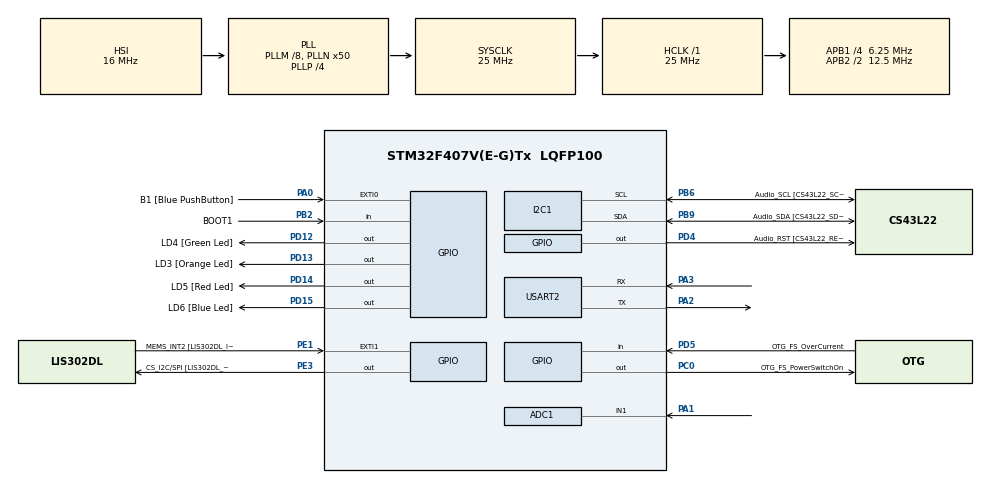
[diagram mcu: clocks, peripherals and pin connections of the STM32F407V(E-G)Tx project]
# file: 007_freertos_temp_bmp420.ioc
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ADC1.Channel-1\#ChannelRegularConversion=ADC_CHANNEL_1
ADC1.NbrOfConversionFlag=1
ADC1.Rank-1\#ChannelRegularConversion=1
ADC1.SamplingTime-1\#ChannelRegularConversion=ADC_SAMPLETIME_3CYCLES
ADC1.master=1
Mcu.Family=STM32F4
Mcu.Name=STM32F407V(E-G)Tx
Mcu.Package=LQFP100
NVIC.PriorityGroup=NVIC_PRIORITYGROUP_4
NVIC.TIM6_DAC_IRQn=true\:0\:0\:false\:false\:true\:false\:true\:true
NVIC.TimeBase=TIM6_DAC_IRQn
NVIC.TimeBaseIP=TIM6
NVIC.USART2_IRQn=true\:0\:0\:false\:false\:true\:true\:true\:true
PA0-WKUP.GPIO_Label=B1 [Blue PushButton]
PA0-WKUP.Signal=GPXTI0
PA1.Signal=ADCx_IN1
PA10.GPIO_Label=OTG_FS_ID
PA10.GPIO_Mode=GPIO_MODE_AF_PP
PA10.GPIO_PuPd=GPIO_NOPULL
PA10.GPIO_Speed=GPIO_SPEED_FREQ_LOW
PA10.Signal=USB_OTG_FS_ID
PA11.GPIO_Label=OTG_FS_DM
PA11.GPIO_Mode=GPIO_MODE_AF_PP
PA11.GPIO_PuPd=GPIO_NOPULL
PA11.GPIO_Speed=GPIO_SPEED_FREQ_LOW
PA11.Signal=USB_OTG_FS_DM
PA12.GPIO_Label=OTG_FS_DP
PA12.GPIO_Mode=GPIO_MODE_AF_PP
PA12.GPIO_PuPd=GPIO_NOPULL
PA12.GPIO_Speed=GPIO_SPEED_FREQ_LOW
PA12.Signal=USB_OTG_FS_DP
PA13.GPIO_Label=SWDIO
PA13.Signal=SYS_JTMS-SWDIO
PA14.GPIO_Label=SWCLK
PA14.Signal=SYS_JTCK-SWCLK
PA2.Mode=Asynchronous
PA2.Signal=USART2_TX
PA3.Mode=Asynchronous
PA3.Signal=USART2_RX
PA4.GPIO_Label=I2S3_WS [CS43L22_LRCK]
PA4.GPIO_Mode=GPIO_MODE_AF_PP
PA4.GPIO_PuPd=GPIO_NOPULL
PA4.GPIO_Speed=GPIO_SPEED_FREQ_LOW
PA4.Signal=I2S3_WS
PA5.GPIO_Label=SPI1_SCK [LIS302DL_SCL/SPC]
PA5.GPIO_Mode=GPIO_MODE_AF_PP
PA5.GPIO_PuPd=GPIO_NOPULL
PA5.GPIO_Speed=GPIO_SPEED_FREQ_LOW
PA5.Signal=SPI1_SCK
PA6.GPIO_Label=SPI1_MISO [LIS302DL_SDO]
PA6.GPIO_Mode=GPIO_MODE_AF_PP
PA6.GPIO_PuPd=GPIO_NOPULL
PA6.GPIO_Speed=GPIO_SPEED_FREQ_LOW
PA6.Signal=SPI1_MISO
PA7.GPIO_Label=SPI1_MOSI [LIS302DL_SDA/SDI/SDO]
PA7.GPIO_Mode=GPIO_MODE_AF_PP
PA7.GPIO_PuPd=GPIO_NOPULL
PA7.GPIO_Speed=GPIO_SPEED_FREQ_LOW
PA7.Signal=SPI1_MOSI
PA9.GPIO_Label=VBUS_FS
PA9.GPIO_Mode=GPIO_MODE_INPUT
PA9.GPIO_PuPd=GPIO_NOPULL
PA9.Signal=USB_OTG_FS_VBUS
PB10.GPIO_Label=CLK_IN [MP45DT02_CLK]
PB10.GPIO_Mode=GPIO_MODE_AF_PP
PB10.GPIO_PuPd=GPIO_NOPULL
PB10.GPIO_Speed=GPIO_SPEED_FREQ_LOW
PB10.Signal=I2S2_CK
PB2.GPIO_Label=BOOT1
PB2.GPIO_Mode=GPIO_MODE_INPUT
PB2.GPIO_PuPd=GPIO_NOPULL
PB2.Signal=GPIO_Input
PB3.GPIO_Label=SWO
PB3.Signal=SYS_JTDO-SWO
PB6.GPIO_Label=Audio_SCL [CS43L22_SCL]
PB6.GPIO_Mode=GPIO_MODE_AF_OD
PB6.GPIO_Pu=GPIO_PULLUP
PB6.GPIO_PuPd=GPIO_NOPULL
PB6.GPIO_Speed=GPIO_SPEED_FREQ_LOW
PB6.Mode=I2C
PB6.Signal=I2C1_SCL
PB9.GPIO_Label=Audio_SDA [CS43L22_SDA]
PB9.GPIO_Mode=GPIO_MODE_AF_OD
PB9.GPIO_Pu=GPIO_PULLUP
PB9.GPIO_PuPd=GPIO_NOPULL
PB9.GPIO_Speed=GPIO_SPEED_FREQ_LOW
PB9.Mode=I2C
PB9.Signal=I2C1_SDA
PC0.GPIO_Label=OTG_FS_PowerSwitchOn
PC0.GPIO_PuPd=GPIO_NOPULL
PC0.GPIO_Speed=GPIO_SPEED_FREQ_LOW
PC0.PinState=GPIO_PIN_SET
PC0.Signal=GPIO_Output
PC10.GPIO_Label=I2S3_SCK [CS43L22_SCLK]
PC10.GPIO_Mode=GPIO_MODE_AF_PP
PC10.GPIO_PuPd=GPIO_NOPULL
PC10.GPIO_Speed=GPIO_SPEED_FREQ_LOW
PC10.Signal=I2S3_CK
PC12.GPIO_Label=I2S3_SD [CS43L22_SDIN]
PC12.GPIO_Mode=GPIO_MODE_AF_PP
PC12.GPIO_PuPd=GPIO_NOPULL
PC12.GPIO_Speed=GPIO_SPEED_FREQ_LOW
PC12.Signal=I2S3_SD
PC14-OSC32_IN.GPIO_Label=PC14-OSC32_IN
PC14-OSC32_IN.Signal=RCC_OSC32_IN
PC15-OSC32_OUT.GPIO_Label=PC15-OSC32_OUT
PC15-OSC32_OUT.Signal=RCC_OSC32_OUT
PC3.GPIO_Label=PDM_OUT [MP45DT02_DOUT]
PC3.GPIO_Mode=GPIO_MODE_AF_PP
PC3.GPIO_PuPd=GPIO_NOPULL
PC3.GPIO_Speed=GPIO_SPEED_FREQ_LOW
PC3.Signal=I2S2_SD
PC7.GPIO_Label=I2S3_MCK [CS43L22_MCLK]
PC7.GPIO_Mode=GPIO_MODE_AF_PP
PC7.GPIO_PuPd=GPIO_NOPULL
PC7.GPIO_Speed=GPIO_SPEED_FREQ_LOW
PC7.Signal=I2S3_MCK
PD12.GPIO_Label=LD4 [Green Led]
PD12.GPIO_PuPd=GPIO_NOPULL
PD12.GPIO_Speed=GPIO_SPEED_FREQ_LOW
PD12.Signal=GPIO_Output
PD13.GPIO_Label=LD3 [Orange Led]
PD13.GPIO_PuPd=GPIO_NOPULL
PD13.GPIO_Speed=GPIO_SPEED_FREQ_LOW
PD13.Signal=GPIO_Output
PD14.GPIO_Label=LD5 [Red Led]
PD14.GPIO_PuPd=GPIO_NOPULL
PD14.GPIO_Speed=GPIO_SPEED_FREQ_LOW
PD14.Signal=GPIO_Output
PD15.GPIO_Label=LD6 [Blue Led]
PD15.GPIO_PuPd=GPIO_NOPULL
PD15.GPIO_Speed=GPIO_SPEED_FREQ_LOW
PD15.Signal=GPIO_Output
PD4.GPIO_Label=Audio_RST [CS43L22_RESET]
PD4.GPIO_PuPd=GPIO_NOPULL
PD4.GPIO_Speed=GPIO_SPEED_FREQ_LOW
PD4.Signal=GPIO_Output
PD5.GPIO_Label=OTG_FS_OverCurrent
PD5.GPIO_Mode=GPIO_MODE_INPUT
PD5.GPIO_PuPd=GPIO_NOPULL
PD5.Signal=GPIO_Input
PE1.GPIO_Label=MEMS_INT2 [LIS302DL_INT2]
PE1.GPIO_ModeDefaultEXTI=GPIO_MODE_EVT_RISING
PE1.GPIO_PuPd=GPIO_NOPULL
PE1.Signal=GPXTI1
PE3.GPIO_Label=CS_I2C/SPI [LIS302DL_CS_I2C/SPI]
PE3.GPIO_PuPd=GPIO_NOPULL
PE3.GPIO_Speed=GPIO_SPEED_FREQ_LOW
PE3.Signal=GPIO_Output
PH0-OSC_IN.GPIO_Label=PH0-OSC_IN
PH0-OSC_IN.Signal=RCC_OSC_IN
PH1-OSC_OUT.GPIO_Label=PH1-OSC_OUT
PH1-OSC_OUT.Signal=RCC_OSC_OUT
ProjectManager.HeapSize=0x200
ProjectManager.StackSize=0x400
ProjectManager.TargetToolchain=STM32CubeIDE
RCC.48MHZClocksFreq_Value=14285714.285714285
RCC.AHBFreq_Value=25000000
RCC.APB1CLKDivider=RCC_HCLK_DIV4
RCC.APB1Freq_Value=6250000
RCC.APB1TimFreq_Value=12500000
RCC.APB2CLKDivider=RCC_HCLK_DIV2
RCC.APB2Freq_Value=12500000
RCC.APB2TimFreq_Value=25000000
RCC.CortexFreq_Value=25000000
RCC.HCLKFreq_Value=25000000
RCC.HSE_VALUE=8000000
RCC.HSI_VALUE=16000000
RCC.LSE_VALUE=32768
RCC.PLLM=8
RCC.PLLN=50
RCC.PLLP=RCC_PLLP_DIV4
RCC.PLLQ=7
RCC.SYSCLKFreq_VALUE=25000000
RCC.SYSCLKSource=RCC_SYSCLKSOURCE_PLLCLK
RCC.VCOOutputFreq_Value=100000000
SH.ADCx_IN1.0=ADC1_IN1,IN1
USART2.VirtualMode=VM_ASYNC
VP_SYS_VS_tim6.Mode=TIM6
board=STM32F407G-DISC1

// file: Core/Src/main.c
/* USER CODE BEGIN Header */
/**
  ******************************************************************************
  * @file           : main.c
  * @brief          : Main program body
  ******************************************************************************
  * @attention
  *
  * Copyright (c) 2026 STMicroelectronics.
  * All rights reserved.
  *
  * This software is licensed under terms that can be found in the LICENSE file
  * in the root directory of this software component.
  * If no LICENSE file comes with this software, it is provided AS-IS.
  *
  ******************************************************************************
  */
/* USER CODE END Header */
#include "main.h"

/* USER CODE BEGIN Includes */
#include<string.h>
#include<stdlib.h>
#include<stdio.h>
/* USER CODE END Includes */

ADC_HandleTypeDef hadc1;

I2C_HandleTypeDef hi2c1;

UART_HandleTypeDef huart2;

/* USER CODE BEGIN PV */
uint16_t dig_T1;
int16_t  dig_T2;
int16_t  dig_T3;
int32_t  t_fine;
/* USER CODE END PV */

void SystemClock_Config(void);
static void MX_GPIO_Init(void);
static void MX_USART2_UART_Init(void);
static void MX_ADC1_Init(void);
static void MX_I2C1_Init(void);

/* USER CODE BEGIN 0 */
#define BMP280_ADDR         (0x76 << 1)

#define BMP280_REG_TEMP_MSB 0xFA
#define BMP280_REG_CTRL_MEAS 0xF4
#define BMP280_REG_CALIB 0x88
#define BMP280_REG_TEMP_MSB 0xFA
uint8_t i2c_buf[6];

void BMP280_ReadCalibration(void)
{
    uint8_t calib[6];

    HAL_I2C_Mem_Read(&hi2c1,
                     BMP280_ADDR,
                     BMP280_REG_CALIB,
                     I2C_MEMADD_SIZE_8BIT,
                     calib,
                     6,
                     HAL_MAX_DELAY);

    dig_T1 = (uint16_t)(calib[1] << 8 | calib[0]);
    dig_T2 = (int16_t)(calib[3] << 8 | calib[2]);
    dig_T3 = (int16_t)(calib[5] << 8 | calib[4]);
}
void BMP280_Init(void)
{
    uint8_t ctrl = 0x27; // temp x1, press x1, normal mode

    HAL_I2C_Mem_Write(&hi2c1,
                      BMP280_ADDR,
                      BMP280_REG_CTRL_MEAS,
                      I2C_MEMADD_SIZE_8BIT,
                      &ctrl,
                      1,
                      HAL_MAX_DELAY);
}

int32_t BMP280_ReadRawTemp(void)
{
    uint8_t data[3];

    HAL_I2C_Mem_Read(&hi2c1,
                     BMP280_ADDR,
                     BMP280_REG_TEMP_MSB,
                     I2C_MEMADD_SIZE_8BIT,
                     data,
                     3,
                     HAL_MAX_DELAY);

    return (int32_t)((data[0] << 12) |
                     (data[1] << 4)  |
                     (data[2] >> 4));
}

float BMP280_ReadTemperature(void)
{
    int32_t adc_T = BMP280_ReadRawTemp();

    int32_t var1 = ((((adc_T >> 3) - ((int32_t)dig_T1 << 1))) *
                    ((int32_t)dig_T2)) >> 11;

    int32_t var2 = (((((adc_T >> 4) - ((int32_t)dig_T1)) *
                      ((adc_T >> 4) - ((int32_t)dig_T1))) >> 12) *
                    ((int32_t)dig_T3)) >> 14;

    t_fine = var1 + var2;

    float T = (t_fine * 5 + 128) >> 8;

    return T / 100.0f;
}
/* USER CODE END 0 */

int main(void)
{

  /* MCU Configuration--------------------------------------------------------*/

  /* Reset of all peripherals, Initializes the Flash interface and the Systick. */
  HAL_Init();

  /* Configure the system clock */
  SystemClock_Config();

  /* Initialize all configured peripherals */
  MX_GPIO_Init();
  MX_USART2_UART_Init();
  MX_ADC1_Init();
  MX_I2C1_Init();
  /* USER CODE BEGIN 2 */
  char buffer[50];

  HAL_UART_Transmit(&huart2,
                    (uint8_t*)"--- Scan started ---\r\n",
                    21,
                    HAL_MAX_DELAY);

  for (uint8_t addr = 1; addr < 128; addr++)
  {
      if (HAL_I2C_IsDeviceReady(&hi2c1,
                                addr << 1,
                                1,
                                10) == HAL_OK)
      {
          sprintf(buffer,
                  "I2C device found at address 0x%02X\r\n",
                  addr);

          HAL_UART_Transmit(&huart2,
                            (uint8_t*)buffer,
                            strlen(buffer),
                            HAL_MAX_DELAY);
      }
  }

  HAL_UART_Transmit(&huart2,
                    (uint8_t*)"--- Scan finished ---\r\n",
                    22,
                    HAL_MAX_DELAY);
  BMP280_Init();
  BMP280_ReadCalibration();

  /* USER CODE END 2 */

  /* Infinite loop */
  while (1)
  {
	  char buffer[50];

	  float temperature = BMP280_ReadTemperature();

	  int temp_x100 = (int)(temperature * 100);

	  sprintf(buffer, "Temp = %d.%02d C\r\n",
	          temp_x100 / 100,
	          temp_x100 % 100);

	  HAL_UART_Transmit(&huart2,
	                    (uint8_t*)buffer,
	                    strlen(buffer),
	                    HAL_MAX_DELAY);

	  HAL_Delay(1000);
  }
}

void SystemClock_Config(void)
{
  RCC_OscInitTypeDef RCC_OscInitStruct = {0};
  RCC_ClkInitTypeDef RCC_ClkInitStruct = {0};

  /** Configure the main internal regulator output voltage
  */
  __HAL_RCC_PWR_CLK_ENABLE();
  __HAL_PWR_VOLTAGESCALING_CONFIG(PWR_REGULATOR_VOLTAGE_SCALE1);

  /** Initializes the RCC Oscillators according to the specified parameters
  * in the RCC_OscInitTypeDef structure.
  */
  RCC_OscInitStruct.OscillatorType = RCC_OSCILLATORTYPE_HSI;
  RCC_OscInitStruct.HSIState = RCC_HSI_ON;
  RCC_OscInitStruct.HSICalibrationValue = RCC_HSICALIBRATION_DEFAULT;
  RCC_OscInitStruct.PLL.PLLState = RCC_PLL_ON;
  RCC_OscInitStruct.PLL.PLLSource = RCC_PLLSOURCE_HSI;
  RCC_OscInitStruct.PLL.PLLM = 8;
  RCC_OscInitStruct.PLL.PLLN = 50;
  RCC_OscInitStruct.PLL.PLLP = RCC_PLLP_DIV4;
  RCC_OscInitStruct.PLL.PLLQ = 7;
  if (HAL_RCC_OscConfig(&RCC_OscInitStruct) != HAL_OK)
  {
    Error_Handler();
  }

  /** Initializes the CPU, AHB and APB buses clocks
  */
  RCC_ClkInitStruct.ClockType = RCC_CLOCKTYPE_HCLK|RCC_CLOCKTYPE_SYSCLK
                              |RCC_CLOCKTYPE_PCLK1|RCC_CLOCKTYPE_PCLK2;
  RCC_ClkInitStruct.SYSCLKSource = RCC_SYSCLKSOURCE_PLLCLK;
  RCC_ClkInitStruct.AHBCLKDivider = RCC_SYSCLK_DIV1;
  RCC_ClkInitStruct.APB1CLKDivider = RCC_HCLK_DIV4;
  RCC_ClkInitStruct.APB2CLKDivider = RCC_HCLK_DIV2;

  if (HAL_RCC_ClockConfig(&RCC_ClkInitStruct, FLASH_LATENCY_0) != HAL_OK)
  {
    Error_Handler();
  }
}

static void MX_ADC1_Init(void)
{

  ADC_ChannelConfTypeDef sConfig = {0};

  /** Configure the global features of the ADC (Clock, Resolution, Data Alignment and number of conversion)
  */
  hadc1.Instance = ADC1;
  hadc1.Init.ClockPrescaler = ADC_CLOCK_SYNC_PCLK_DIV2;
  hadc1.Init.Resolution = ADC_RESOLUTION_12B;
  hadc1.Init.ScanConvMode = DISABLE;
  hadc1.Init.ContinuousConvMode = DISABLE;
  hadc1.Init.DiscontinuousConvMode = DISABLE;
  hadc1.Init.ExternalTrigConvEdge = ADC_EXTERNALTRIGCONVEDGE_NONE;
  hadc1.Init.ExternalTrigConv = ADC_SOFTWARE_START;
  hadc1.Init.DataAlign = ADC_DATAALIGN_RIGHT;
  hadc1.Init.NbrOfConversion = 1;
  hadc1.Init.DMAContinuousRequests = DISABLE;
  hadc1.Init.EOCSelection = ADC_EOC_SINGLE_CONV;
  if (HAL_ADC_Init(&hadc1) != HAL_OK)
  {
    Error_Handler();
  }

  /** Configure for the selected ADC regular channel its corresponding rank in the sequencer and its sample time.
  */
  sConfig.Channel = ADC_CHANNEL_1;
  sConfig.Rank = 1;
  sConfig.SamplingTime = ADC_SAMPLETIME_3CYCLES;
  if (HAL_ADC_ConfigChannel(&hadc1, &sConfig) != HAL_OK)
  {
    Error_Handler();
  }

}

static void MX_I2C1_Init(void)
{

  hi2c1.Instance = I2C1;
  hi2c1.Init.ClockSpeed = 100000;
  hi2c1.Init.DutyCycle = I2C_DUTYCYCLE_2;
  hi2c1.Init.OwnAddress1 = 0;
  hi2c1.Init.AddressingMode = I2C_ADDRESSINGMODE_7BIT;
  hi2c1.Init.DualAddressMode = I2C_DUALADDRESS_DISABLE;
  hi2c1.Init.OwnAddress2 = 0;
  hi2c1.Init.GeneralCallMode = I2C_GENERALCALL_DISABLE;
  hi2c1.Init.NoStretchMode = I2C_NOSTRETCH_DISABLE;
  if (HAL_I2C_Init(&hi2c1) != HAL_OK)
  {
    Error_Handler();
  }

}

static void MX_USART2_UART_Init(void)
{

  huart2.Instance = USART2;
  huart2.Init.BaudRate = 115200;
  huart2.Init.WordLength = UART_WORDLENGTH_8B;
  huart2.Init.StopBits = UART_STOPBITS_1;
  huart2.Init.Parity = UART_PARITY_NONE;
  huart2.Init.Mode = UART_MODE_TX_RX;
  huart2.Init.HwFlowCtl = UART_HWCONTROL_NONE;
  huart2.Init.OverSampling = UART_OVERSAMPLING_16;
  if (HAL_UART_Init(&huart2) != HAL_OK)
  {
    Error_Handler();
  }

}

static void MX_GPIO_Init(void)
{
  GPIO_InitTypeDef GPIO_InitStruct = {0};

  /* GPIO Ports Clock Enable */
  __HAL_RCC_GPIOE_CLK_ENABLE();
  __HAL_RCC_GPIOC_CLK_ENABLE();
  __HAL_RCC_GPIOH_CLK_ENABLE();
  __HAL_RCC_GPIOA_CLK_ENABLE();
  __HAL_RCC_GPIOB_CLK_ENABLE();
  __HAL_RCC_GPIOD_CLK_ENABLE();

  /*Configure GPIO pin Output Level */
  HAL_GPIO_WritePin(CS_I2C_SPI_GPIO_Port, CS_I2C_SPI_Pin, GPIO_PIN_RESET);

  /*Configure GPIO pin Output Level */
  HAL_GPIO_WritePin(OTG_FS_PowerSwitchOn_GPIO_Port, OTG_FS_PowerSwitchOn_Pin, GPIO_PIN_SET);

  /*Configure GPIO pin Output Level */
  HAL_GPIO_WritePin(GPIOD, LD4_Pin|LD3_Pin|LD5_Pin|LD6_Pin
                          |Audio_RST_Pin, GPIO_PIN_RESET);

  /*Configure GPIO pin : CS_I2C_SPI_Pin */
  GPIO_InitStruct.Pin = CS_I2C_SPI_Pin;
  GPIO_InitStruct.Mode = GPIO_MODE_OUTPUT_PP;
  GPIO_InitStruct.Pull = GPIO_NOPULL;
  GPIO_InitStruct.Speed = GPIO_SPEED_FREQ_LOW;
  HAL_GPIO_Init(CS_I2C_SPI_GPIO_Port, &GPIO_InitStruct);

  /*Configure GPIO pin : OTG_FS_PowerSwitchOn_Pin */
  GPIO_InitStruct.Pin = OTG_FS_PowerSwitchOn_Pin;
  GPIO_InitStruct.Mode = GPIO_MODE_OUTPUT_PP;
  GPIO_InitStruct.Pull = GPIO_NOPULL;
  GPIO_InitStruct.Speed = GPIO_SPEED_FREQ_LOW;
  HAL_GPIO_Init(OTG_FS_PowerSwitchOn_GPIO_Port, &GPIO_InitStruct);

  /*Configure GPIO pin : PDM_OUT_Pin */
  GPIO_InitStruct.Pin = PDM_OUT_Pin;
  GPIO_InitStruct.Mode = GPIO_MODE_AF_PP;
  GPIO_InitStruct.Pull = GPIO_NOPULL;
  GPIO_InitStruct.Speed = GPIO_SPEED_FREQ_LOW;
  GPIO_InitStruct.Alternate = GPIO_AF5_SPI2;
  HAL_GPIO_Init(PDM_OUT_GPIO_Port, &GPIO_InitStruct);

  /*Configure GPIO pin : B1_Pin */
  GPIO_InitStruct.Pin = B1_Pin;
  GPIO_InitStruct.Mode = GPIO_MODE_IT_RISING;
  GPIO_InitStruct.Pull = GPIO_NOPULL;
  HAL_GPIO_Init(B1_GPIO_Port, &GPIO_InitStruct);

  /*Configure GPIO pin : I2S3_WS_Pin */
  GPIO_InitStruct.Pin = I2S3_WS_Pin;
  GPIO_InitStruct.Mode = GPIO_MODE_AF_PP;
  GPIO_InitStruct.Pull = GPIO_NOPULL;
  GPIO_InitStruct.Speed = GPIO_SPEED_FREQ_LOW;
  GPIO_InitStruct.Alternate = GPIO_AF6_SPI3;
  HAL_GPIO_Init(I2S3_WS_GPIO_Port, &GPIO_InitStruct);

  /*Configure GPIO pins : SPI1_SCK_Pin SPI1_MISO_Pin SPI1_MOSI_Pin */
  GPIO_InitStruct.Pin = SPI1_SCK_Pin|SPI1_MISO_Pin|SPI1_MOSI_Pin;
  GPIO_InitStruct.Mode = GPIO_MODE_AF_PP;
  GPIO_InitStruct.Pull = GPIO_NOPULL;
  GPIO_InitStruct.Speed = GPIO_SPEED_FREQ_LOW;
  GPIO_InitStruct.Alternate = GPIO_AF5_SPI1;
  HAL_GPIO_Init(GPIOA, &GPIO_InitStruct);

  /*Configure GPIO pin : BOOT1_Pin */
  GPIO_InitStruct.Pin = BOOT1_Pin;
  GPIO_InitStruct.Mode = GPIO_MODE_INPUT;
  GPIO_InitStruct.Pull = GPIO_NOPULL;
  HAL_GPIO_Init(BOOT1_GPIO_Port, &GPIO_InitStruct);

  /*Configure GPIO pin : CLK_IN_Pin */
  GPIO_InitStruct.Pin = CLK_IN_Pin;
  GPIO_InitStruct.Mode = GPIO_MODE_AF_PP;
  GPIO_InitStruct.Pull = GPIO_NOPULL;
  GPIO_InitStruct.Speed = GPIO_SPEED_FREQ_LOW;
  GPIO_InitStruct.Alternate = GPIO_AF5_SPI2;
  HAL_GPIO_Init(CLK_IN_GPIO_Port, &GPIO_InitStruct);

  /*Configure GPIO pins : LD4_Pin LD3_Pin LD5_Pin LD6_Pin
                           Audio_RST_Pin */
  GPIO_InitStruct.Pin = LD4_Pin|LD3_Pin|LD5_Pin|LD6_Pin
                          |Audio_RST_Pin;
  GPIO_InitStruct.Mode = GPIO_MODE_OUTPUT_PP;
  GPIO_InitStruct.Pull = GPIO_NOPULL;
  GPIO_InitStruct.Speed = GPIO_SPEED_FREQ_LOW;
  HAL_GPIO_Init(GPIOD, &GPIO_InitStruct);

  /*Configure GPIO pins : I2S3_MCK_Pin I2S3_SCK_Pin I2S3_SD_Pin */
  GPIO_InitStruct.Pin = I2S3_MCK_Pin|I2S3_SCK_Pin|I2S3_SD_Pin;
  GPIO_InitStruct.Mode = GPIO_MODE_AF_PP;
  GPIO_InitStruct.Pull = GPIO_NOPULL;
  GPIO_InitStruct.Speed = GPIO_SPEED_FREQ_LOW;
  GPIO_InitStruct.Alternate = GPIO_AF6_SPI3;
  HAL_GPIO_Init(GPIOC, &GPIO_InitStruct);

  /*Configure GPIO pin : VBUS_FS_Pin */
  GPIO_InitStruct.Pin = VBUS_FS_Pin;
  GPIO_InitStruct.Mode = GPIO_MODE_INPUT;
  GPIO_InitStruct.Pull = GPIO_NOPULL;
  HAL_GPIO_Init(VBUS_FS_GPIO_Port, &GPIO_InitStruct);

  /*Configure GPIO pins : OTG_FS_ID_Pin OTG_FS_DM_Pin OTG_FS_DP_Pin */
  GPIO_InitStruct.Pin = OTG_FS_ID_Pin|OTG_FS_DM_Pin|OTG_FS_DP_Pin;
  GPIO_InitStruct.Mode = GPIO_MODE_AF_PP;
  GPIO_InitStruct.Pull = GPIO_NOPULL;
  GPIO_InitStruct.Speed = GPIO_SPEED_FREQ_LOW;
  GPIO_InitStruct.Alternate = GPIO_AF10_OTG_FS;
  HAL_GPIO_Init(GPIOA, &GPIO_InitStruct);

  /*Configure GPIO pin : OTG_FS_OverCurrent_Pin */
  GPIO_InitStruct.Pin = OTG_FS_OverCurrent_Pin;
  GPIO_InitStruct.Mode = GPIO_MODE_INPUT;
  GPIO_InitStruct.Pull = GPIO_NOPULL;
  HAL_GPIO_Init(OTG_FS_OverCurrent_GPIO_Port, &GPIO_InitStruct);

  /*Configure GPIO pin : MEMS_INT2_Pin */
  GPIO_InitStruct.Pin = MEMS_INT2_Pin;
  GPIO_InitStruct.Mode = GPIO_MODE_EVT_RISING;
  GPIO_InitStruct.Pull = GPIO_NOPULL;
  HAL_GPIO_Init(MEMS_INT2_GPIO_Port, &GPIO_InitStruct);

}

void HAL_TIM_PeriodElapsedCallback(TIM_HandleTypeDef *htim)
{
  if (htim->Instance == TIM6)
  {
    HAL_IncTick();
  }
}

void Error_Handler(void)
{
  __disable_irq();
  while (1)
  {
  }
}
